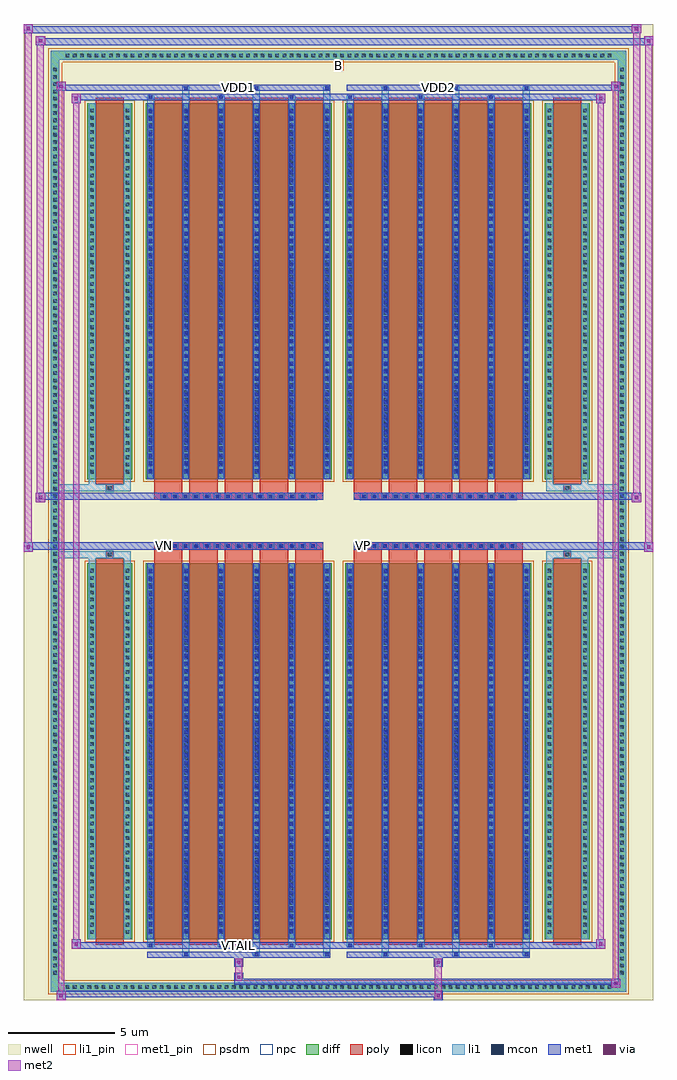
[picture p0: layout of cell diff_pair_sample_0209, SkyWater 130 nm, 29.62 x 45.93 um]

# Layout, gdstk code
import gdstk
lib = gdstk.Library(unit=1e-6, precision=5e-09)
def R(c, l, rs):  # rectangles x0, y0, x1, y1
    for r in rs: c.add(gdstk.rectangle(r[:2], r[2:], *l))
def A(c, l, x, y, w, h, nx, ny, dx, dy):  # array of equal rectangles
    R(c, l, [(x+i*dx, y+j*dy, x+i*dx+w, y+j*dy+h) for i in range(nx) for j in range(ny)])
def P(c, l, *ps):  # polygons
    for p in ps: c.add(gdstk.Polygon(p, *l))
nwell = (64, 20)
diff = (65, 20)
poly = (66, 20)
licon = (66, 44)
li1_pin = (67, 16)
li1 = (67, 20)
mcon = (67, 44)
met1_pin = (68, 16)
met1 = (68, 20)
via = (68, 44)
met2 = (69, 20)
psdm = (94, 20)
npc = (95, 20)

diff_pair_sample_0209 = lib.new_cell('diff_pair_sample_0209')
R(diff_pair_sample_0209, nwell, [(-14.81,-22.53,14.81,23.4), (-12.13,-20.72,-0.01,-0.8), (0.01,-20.72,12.13,-0.8), (-12.13,0.8,-0.01,20.72), (0.01,0.8,12.13,20.72)])
A(diff_pair_sample_0209, diff, -12.955, -22.13, 0.41, 0.41, 76, 2, 0.34, 43.85)
A(diff_pair_sample_0209, diff, -13.54, -21.455, 0.41, 0.41, 1, 126, 0, 0.34)
A(diff_pair_sample_0209, diff, 13.13, -21.455, 0.41, 0.41, 1, 126, 0, 0.34)
R(diff_pair_sample_0209, diff, [(-12.955,-22.13,12.955,-21.72), (-13.54,-21.455,-13.13,21.455), (13.13,-21.455,13.54,21.455), (-11.82,-19.675,-9.71,-1.985), (-9.07,-19.675,-0.32,-1.985), (0.32,-19.675,9.07,-1.985), (9.71,-19.675,11.82,-1.985), (-11.82,1.985,-9.71,19.675), (-9.07,1.985,-0.32,19.675), (0.32,1.985,9.07,19.675), (9.71,1.985,11.82,19.675), (-12.955,21.72,12.955,22.13)])
P(diff_pair_sample_0209, diff, [(13.54,22.13),(-13.54,22.13),(-13.54,-21.72),(-13.13,-21.72),(-13.13,21.72),(13.13,21.72),(13.13,-21.72),(-13.13,-21.72),(-13.54,-21.72),(-13.54,-22.13),(13.54,-22.13)])
A(diff_pair_sample_0209, poly, -8.68, -19.925, 1.33, 18.19, 5, 2, 1.66, 21.66)
A(diff_pair_sample_0209, poly, 0.71, -19.925, 1.33, 18.19, 5, 2, 1.66, 21.66)
A(diff_pair_sample_0209, poly, -8.68, -1.735, 1.33, 0.405, 5, 2, 1.66, 3.065)
A(diff_pair_sample_0209, poly, 0.71, -1.735, 1.33, 0.405, 5, 2, 1.66, 3.065)
A(diff_pair_sample_0209, poly, -8.36, -1.33, 0.33, 0.33, 15, 2, 0.5, 2.33)
A(diff_pair_sample_0209, poly, 1.03, -1.33, 0.33, 0.33, 15, 2, 0.5, 2.33)
R(diff_pair_sample_0209, poly, [(-11.43,-19.925,-10.1,-1.735), (10.1,-19.925,11.43,-1.735), (-10.93,-1.735,-10.6,-1.405), (-10.93,-1.735,-10.6,-1.405), (10.6,-1.735,10.93,-1.405), (10.6,-1.735,10.93,-1.405), (-8.68,-1.33,-0.71,-1), (0.71,-1.33,8.68,-1), (-8.68,1,-0.71,1.33), (0.71,1,8.68,1.33), (-10.93,1.405,-10.6,1.735), (-10.93,1.405,-10.6,1.735), (10.6,1.405,10.93,1.735), (10.6,1.405,10.93,1.735), (-11.43,1.735,-10.1,19.925), (10.1,1.735,11.43,19.925)])
A(diff_pair_sample_0209, licon, -12.835, -22.01, 0.17, 0.17, 76, 2, 0.34, 43.85)
A(diff_pair_sample_0209, licon, -13.42, -21.335, 0.17, 0.17, 1, 126, 0, 0.34)
A(diff_pair_sample_0209, licon, 13.25, -21.335, 0.17, 0.17, 1, 126, 0, 0.34)
A(diff_pair_sample_0209, licon, -11.68, -19.415, 0.17, 0.17, 1, 51, 0, 0.34)
A(diff_pair_sample_0209, licon, -10.02, -19.415, 0.17, 0.17, 1, 51, 0, 0.34)
A(diff_pair_sample_0209, licon, -8.93, -19.415, 0.17, 0.17, 6, 51, 1.66, 0.34)
A(diff_pair_sample_0209, licon, 0.46, -19.415, 0.17, 0.17, 6, 51, 1.66, 0.34)
A(diff_pair_sample_0209, licon, 9.85, -19.415, 0.17, 0.17, 1, 51, 0, 0.34)
A(diff_pair_sample_0209, licon, 11.51, -19.415, 0.17, 0.17, 1, 51, 0, 0.34)
A(diff_pair_sample_0209, licon, -8.28, -1.25, 0.17, 0.17, 15, 2, 0.5, 2.33)
A(diff_pair_sample_0209, licon, 1.11, -1.25, 0.17, 0.17, 15, 2, 0.5, 2.33)
A(diff_pair_sample_0209, licon, -11.68, 2.245, 0.17, 0.17, 1, 51, 0, 0.34)
A(diff_pair_sample_0209, licon, -10.02, 2.245, 0.17, 0.17, 1, 51, 0, 0.34)
A(diff_pair_sample_0209, licon, -8.93, 2.245, 0.17, 0.17, 6, 51, 1.66, 0.34)
A(diff_pair_sample_0209, licon, 0.46, 2.245, 0.17, 0.17, 6, 51, 1.66, 0.34)
A(diff_pair_sample_0209, licon, 9.85, 2.245, 0.17, 0.17, 1, 51, 0, 0.34)
A(diff_pair_sample_0209, licon, 11.51, 2.245, 0.17, 0.17, 1, 51, 0, 0.34)
R(diff_pair_sample_0209, licon, [(-10.85,-1.655,-10.68,-1.485), (10.68,-1.655,10.85,-1.485), (-10.85,1.485,-10.68,1.655), (10.68,1.485,10.85,1.655)])
R(diff_pair_sample_0209, li1_pin, [(-0.25,21.22,0.25,21.72)])
A(diff_pair_sample_0209, li1, -12.915, -22.09, 0.33, 0.33, 76, 2, 0.34, 43.85)
A(diff_pair_sample_0209, li1, -13.5, -21.415, 0.33, 0.33, 1, 126, 0, 0.34)
A(diff_pair_sample_0209, li1, 13.17, -21.415, 0.33, 0.33, 1, 126, 0, 0.34)
A(diff_pair_sample_0209, li1, -7.35, -20.48, 0.33, 0.805, 3, 2, 3.32, 40.155)
A(diff_pair_sample_0209, li1, -7.27, -20.48, 0.17, 0.17, 3, 2, 3.32, 40.79)
A(diff_pair_sample_0209, li1, 2.04, -20.48, 0.33, 0.805, 3, 2, 3.32, 40.155)
A(diff_pair_sample_0209, li1, 2.12, -20.48, 0.17, 0.17, 3, 2, 3.32, 40.79)
A(diff_pair_sample_0209, li1, -9.01, -20.05, 0.33, 0.375, 3, 2, 3.32, 39.725)
A(diff_pair_sample_0209, li1, -8.93, -20.05, 0.17, 0.17, 3, 2, 3.32, 39.93)
A(diff_pair_sample_0209, li1, 0.38, -20.05, 0.33, 0.375, 3, 2, 3.32, 39.725)
A(diff_pair_sample_0209, li1, 0.46, -20.05, 0.17, 0.17, 3, 2, 3.32, 39.93)
A(diff_pair_sample_0209, li1, -9.01, -19.675, 0.33, 17.69, 6, 2, 1.66, 21.66)
A(diff_pair_sample_0209, li1, 0.38, -19.675, 0.33, 17.69, 6, 2, 1.66, 21.66)
A(diff_pair_sample_0209, li1, -11.76, -19.495, 0.33, 0.33, 1, 51, 0, 0.34)
A(diff_pair_sample_0209, li1, -10.1, -19.495, 0.33, 0.33, 1, 51, 0, 0.34)
A(diff_pair_sample_0209, li1, -9.01, -19.495, 0.33, 0.33, 6, 51, 1.66, 0.34)
A(diff_pair_sample_0209, li1, 0.38, -19.495, 0.33, 0.33, 6, 51, 1.66, 0.34)
A(diff_pair_sample_0209, li1, 9.77, -19.495, 0.33, 0.33, 1, 51, 0, 0.34)
A(diff_pair_sample_0209, li1, 11.43, -19.495, 0.33, 0.33, 1, 51, 0, 0.34)
A(diff_pair_sample_0209, li1, -8.93, -19.375, 0.17, 0.17, 6, 48, 1.66, 0.36)
A(diff_pair_sample_0209, li1, -8.93, -19.375, 0.17, 17.09, 6, 2, 1.66, 21.66)
A(diff_pair_sample_0209, li1, 0.46, -19.375, 0.17, 0.17, 6, 48, 1.66, 0.36)
A(diff_pair_sample_0209, li1, 0.46, -19.375, 0.17, 17.09, 6, 2, 1.66, 21.66)
A(diff_pair_sample_0209, li1, -8.36, -1.33, 0.33, 0.33, 15, 2, 0.5, 2.33)
A(diff_pair_sample_0209, li1, 1.03, -1.33, 0.33, 0.33, 15, 2, 0.5, 2.33)
A(diff_pair_sample_0209, li1, -11.76, 2.165, 0.33, 0.33, 1, 51, 0, 0.34)
A(diff_pair_sample_0209, li1, -10.1, 2.165, 0.33, 0.33, 1, 51, 0, 0.34)
A(diff_pair_sample_0209, li1, -9.01, 2.165, 0.33, 0.33, 6, 51, 1.66, 0.34)
A(diff_pair_sample_0209, li1, 0.38, 2.165, 0.33, 0.33, 6, 51, 1.66, 0.34)
A(diff_pair_sample_0209, li1, 9.77, 2.165, 0.33, 0.33, 1, 51, 0, 0.34)
A(diff_pair_sample_0209, li1, 11.43, 2.165, 0.33, 0.33, 1, 51, 0, 0.34)
A(diff_pair_sample_0209, li1, -8.93, 2.285, 0.17, 0.17, 6, 48, 1.66, 0.36)
A(diff_pair_sample_0209, li1, 0.46, 2.285, 0.17, 0.17, 6, 48, 1.66, 0.36)
R(diff_pair_sample_0209, li1, [(-13.54,-22.13,-13.13,-21.72), (-13.54,-22.13,-13.13,-21.72), (-13.13,-22.13,13.13,-21.72), (13.13,-22.13,13.54,-21.72), (13.13,-22.13,13.54,-21.72), (-13.54,-21.72,-13.13,21.72), (13.13,-21.72,13.54,21.72), (-11.76,-19.675,-11.43,-1.985), (-10.1,-19.675,-9.77,-1.985), (9.77,-19.675,10.1,-1.985), (11.43,-19.675,11.76,-1.985), (-11.76,-1.985,-11.43,-1.405), (-10.1,-1.985,-9.77,-1.405), (9.77,-1.985,10.1,-1.405), (11.43,-1.985,11.76,-1.405), (-13.54,-1.735,-10.93,-1.405), (-11.76,-1.735,-10.93,-1.405), (-10.93,-1.735,-10.6,-1.405), (-10.6,-1.735,-9.77,-1.405), (9.77,-1.735,10.6,-1.405), (10.6,-1.735,10.93,-1.405), (10.6,-1.735,13.54,-1.405), (10.93,-1.735,11.76,-1.405), (-13.54,1.405,-10.93,1.735), (-11.76,1.405,-10.93,1.735), (-11.76,1.405,-11.43,1.985), (-10.93,1.405,-10.6,1.735), (-10.6,1.405,-9.77,1.735), (-10.1,1.405,-9.77,1.985), (9.77,1.405,10.6,1.735), (9.77,1.405,10.1,1.985), (10.6,1.405,10.93,1.735), (10.6,1.405,13.54,1.735), (10.93,1.405,11.76,1.735), (11.43,1.405,11.76,1.985), (-11.76,1.985,-11.43,19.675), (-10.1,1.985,-9.77,19.675), (9.77,1.985,10.1,19.675), (11.43,1.985,11.76,19.675), (-13.54,21.72,-13.13,22.13), (-13.54,21.72,-13.13,22.13), (-13.13,21.72,13.13,22.13), (13.13,21.72,13.54,22.13), (13.13,21.72,13.54,22.13)])
A(diff_pair_sample_0209, mcon, -7.27, -20.48, 0.17, 0.17, 3, 2, 3.32, 40.79)
A(diff_pair_sample_0209, mcon, 2.12, -20.48, 0.17, 0.17, 3, 2, 3.32, 40.79)
A(diff_pair_sample_0209, mcon, -8.93, -20.05, 0.17, 0.17, 3, 2, 3.32, 39.93)
A(diff_pair_sample_0209, mcon, 0.46, -20.05, 0.17, 0.17, 3, 2, 3.32, 39.93)
A(diff_pair_sample_0209, mcon, -8.93, -19.375, 0.17, 0.17, 6, 48, 1.66, 0.36)
A(diff_pair_sample_0209, mcon, 0.46, -19.375, 0.17, 0.17, 6, 48, 1.66, 0.36)
A(diff_pair_sample_0209, mcon, -8.28, -1.25, 0.17, 0.17, 15, 2, 0.5, 2.33)
A(diff_pair_sample_0209, mcon, 1.11, -1.25, 0.17, 0.17, 15, 2, 0.5, 2.33)
A(diff_pair_sample_0209, mcon, -8.93, 2.285, 0.17, 0.17, 6, 48, 1.66, 0.36)
A(diff_pair_sample_0209, mcon, 0.46, 2.285, 0.17, 0.17, 6, 48, 1.66, 0.36)
R(diff_pair_sample_0209, met1_pin, [(-4.83,-20.09,-4.56,-19.82), (-8.33,-1.29,-8.06,-1.02), (1.06,-1.29,1.33,-1.02), (-4.83,20.27,-4.56,20.54), (4.56,20.27,4.83,20.54)])
A(diff_pair_sample_0209, met1, -7.33, -20.54, 0.29, 0.29, 3, 2, 3.32, 40.79)
A(diff_pair_sample_0209, met1, 2.06, -20.54, 0.29, 0.29, 3, 2, 3.32, 40.79)
A(diff_pair_sample_0209, met1, -8.99, -20.11, 0.29, 0.29, 3, 2, 3.32, 39.93)
A(diff_pair_sample_0209, met1, 0.4, -20.11, 0.29, 0.29, 3, 2, 3.32, 39.93)
A(diff_pair_sample_0209, met1, -8.99, -19.675, 0.29, 17.69, 6, 2, 1.66, 21.66)
A(diff_pair_sample_0209, met1, 0.4, -19.675, 0.29, 17.69, 6, 2, 1.66, 21.66)
A(diff_pair_sample_0209, met1, -8.99, -19.435, 0.29, 0.29, 6, 48, 1.66, 0.36)
A(diff_pair_sample_0209, met1, 0.4, -19.435, 0.29, 0.29, 6, 48, 1.66, 0.36)
A(diff_pair_sample_0209, met1, -8.34, -1.31, 0.29, 0.29, 15, 2, 0.5, 2.33)
A(diff_pair_sample_0209, met1, 1.05, -1.31, 0.29, 0.29, 15, 2, 0.5, 2.33)
A(diff_pair_sample_0209, met1, -8.99, 2.225, 0.29, 0.29, 6, 48, 1.66, 0.36)
A(diff_pair_sample_0209, met1, 0.4, 2.225, 0.29, 0.29, 6, 48, 1.66, 0.36)
R(diff_pair_sample_0209, met1, [(-13.27,-22.53,-12.84,-22.1), (4.48,-22.53,4.91,-22.1), (-13.27,-22.39,4.91,-22.1), (12.84,-21.96,13.27,-21.53), (-4.91,-21.82,13.27,-21.53), (-4.91,-21.68,-4.48,-21.25), (-4.91,-20.97,-4.48,-20.54), (4.48,-20.97,4.91,-20.54), (-8.99,-20.54,-0.4,-20.25), (0.4,-20.54,8.99,-20.25), (-12.56,-20.11,-12.13,-19.68), (-12.56,-20.11,-8.99,-19.82), (-8.99,-20.11,-0.4,-19.82), (-0.4,-20.11,0.4,-19.82), (0.4,-20.11,8.99,-19.82), (8.99,-20.11,12.56,-19.82), (12.13,-20.11,12.56,-19.68), (-14.81,-1.43,-14.38,-1), (14.38,-1.43,14.81,-1), (-14.81,-1.33,-0.71,-1), (-8.68,-1.33,-0.71,-1), (0.71,-1.33,8.68,-1), (0.71,-1.33,14.81,-1), (-14.24,0.9,-13.81,1.33), (13.81,0.9,14.24,1.33), (-14.24,1,-8.68,1.33), (-8.68,1,-0.71,1.33), (0.71,1,8.68,1.33), (8.68,1,14.24,1.33), (-12.56,19.68,-12.13,20.11), (12.13,19.68,12.56,20.11), (-12.56,19.82,-8.99,20.11), (-8.99,19.82,-0.4,20.11), (-0.4,19.82,0.4,20.11), (0.4,19.82,8.99,20.11), (8.99,19.82,12.56,20.11), (-13.27,20.25,-12.84,20.68), (-13.27,20.25,-8.99,20.54), (-8.99,20.25,-0.4,20.54), (0.4,20.25,8.99,20.54), (8.99,20.25,13.27,20.54), (12.84,20.25,13.27,20.68), (-14.24,22.4,-13.81,22.83), (-14.24,22.4,-12.13,22.73), (-12.13,22.4,12.13,22.73), (12.13,22.4,14.81,22.73), (14.38,22.4,14.81,22.83), (-14.81,22.97,-14.38,23.4), (-14.81,22.97,-12.13,23.3), (-12.13,22.97,12.13,23.3), (12.13,22.97,14.24,23.3), (13.81,22.97,14.24,23.4)])
R(diff_pair_sample_0209, via, [(-13.13,-22.39,-12.98,-22.24), (4.62,-22.39,4.77,-22.24), (12.98,-21.82,13.13,-21.67), (-4.77,-21.54,-4.62,-21.39), (-4.77,-20.83,-4.62,-20.68), (4.62,-20.83,4.77,-20.68), (-12.42,-19.97,-12.27,-19.82), (12.27,-19.97,12.42,-19.82), (-14.67,-1.29,-14.52,-1.14), (14.52,-1.29,14.67,-1.14), (-14.1,1.04,-13.95,1.19), (13.95,1.04,14.1,1.19), (-12.42,19.82,-12.27,19.97), (12.27,19.82,12.42,19.97), (-13.13,20.39,-12.98,20.54), (12.98,20.39,13.13,20.54), (-14.1,22.54,-13.95,22.69), (14.52,22.54,14.67,22.69), (-14.67,23.11,-14.52,23.26), (13.95,23.11,14.1,23.26)])
R(diff_pair_sample_0209, met2, [(-13.27,-22.53,-12.84,-22.1), (-13.2,-22.53,-12.91,20.68), (-12.91,-22.53,-12.84,-22.1), (-13.22,-22.48,-12.89,-22.15), (4.53,-22.48,4.86,-22.15), (4.53,-22.15,4.86,-20.92), (12.84,-21.96,13.27,-21.53), (12.91,-21.96,13.2,20.68), (13.2,-21.96,13.27,-21.53), (12.89,-21.91,13.22,-21.58), (-4.86,-21.63,-4.53,-21.3), (-4.86,-21.3,-4.53,-20.92), (-4.86,-20.92,-4.53,-20.59), (4.53,-20.92,4.86,-20.59), (-12.56,-20.11,-12.13,-19.68), (-12.49,-20.11,-12.2,20.11), (-12.2,-20.11,-12.13,-19.68), (12.13,-20.11,12.56,-19.68), (12.2,-20.11,12.49,20.11), (12.49,-20.11,12.56,-19.68), (-12.51,-20.06,-12.18,-19.73), (12.18,-20.06,12.51,-19.73), (-14.81,-1.43,-14.38,-1), (-14.76,-1.43,-14.43,23.4), (-14.43,-1.43,-14.38,-1), (14.38,-1.43,14.81,-1), (14.43,-1.43,14.76,22.83), (14.76,-1.43,14.81,-1), (-14.76,-1.38,-14.43,-1.05), (14.43,-1.38,14.76,-1.05), (-14.24,0.9,-13.81,1.33), (-14.19,0.9,-13.86,22.83), (-13.86,0.9,-13.81,1.33), (13.81,0.9,14.24,1.33), (13.86,0.9,14.19,23.4), (14.19,0.9,14.24,1.33), (-14.19,0.95,-13.86,1.28), (13.86,0.95,14.19,1.28), (-12.56,19.68,-12.13,20.11), (-12.2,19.68,-12.13,20.11), (12.13,19.68,12.56,20.11), (12.49,19.68,12.56,20.11), (-12.51,19.73,-12.18,20.06), (12.18,19.73,12.51,20.06), (-13.27,20.25,-12.84,20.68), (-12.91,20.25,-12.84,20.68), (12.84,20.25,13.27,20.68), (13.2,20.25,13.27,20.68), (-13.22,20.3,-12.89,20.63), (12.89,20.3,13.22,20.63), (-14.24,22.4,-13.81,22.83), (-13.86,22.4,-13.81,22.83), (14.38,22.4,14.81,22.83), (14.76,22.4,14.81,22.83), (-14.19,22.45,-13.86,22.78), (14.43,22.45,14.76,22.78), (-14.81,22.97,-14.38,23.4), (-14.43,22.97,-14.38,23.4), (13.81,22.97,14.24,23.4), (14.19,22.97,14.24,23.4), (-14.76,23.02,-14.43,23.35), (13.86,23.02,14.19,23.35)])
R(diff_pair_sample_0209, psdm, [(-11.95,-19.805,-9.58,-1.855), (-9.2,-19.805,-0.19,-1.855), (0.19,-19.805,9.2,-1.855), (9.58,-19.805,11.95,-1.855), (-11.95,1.855,-9.58,19.805), (-9.2,1.855,-0.19,19.805), (0.19,1.855,9.2,19.805), (9.58,1.855,11.95,19.805)])
P(diff_pair_sample_0209, psdm, [(13.67,22.26),(-13.67,22.26),(-13.67,-21.59),(-13,-21.59),(-13,21.59),(13,21.59),(13,-21.59),(-13,-21.59),(-13.67,-21.59),(-13.67,-22.26),(13.67,-22.26)])
A(diff_pair_sample_0209, npc, -8.38, -1.35, 0.37, 0.37, 15, 2, 0.5, 2.33)
A(diff_pair_sample_0209, npc, 1.01, -1.35, 0.37, 0.37, 15, 2, 0.5, 2.33)
R(diff_pair_sample_0209, npc, [(-10.95,-1.755,-10.58,-1.385), (10.58,-1.755,10.95,-1.385), (-8.38,-1.35,-7.51,-0.98), (-8.38,-1.35,-7.51,-0.98), (-7.88,-1.35,-7.01,-0.98), (-7.88,-1.35,-7.01,-0.98), (-7.38,-1.35,-6.51,-0.98), (-7.38,-1.35,-6.51,-0.98), (-6.88,-1.35,-6.01,-0.98), (-6.88,-1.35,-6.01,-0.98), (-6.38,-1.35,-5.51,-0.98), (-6.38,-1.35,-5.51,-0.98), (-5.88,-1.35,-5.01,-0.98), (-5.88,-1.35,-5.01,-0.98), (-5.38,-1.35,-4.51,-0.98), (-5.38,-1.35,-4.51,-0.98), (-4.88,-1.35,-4.01,-0.98), (-4.88,-1.35,-4.01,-0.98), (-4.38,-1.35,-3.51,-0.98), (-4.38,-1.35,-3.51,-0.98), (-3.88,-1.35,-3.01,-0.98), (-3.88,-1.35,-3.01,-0.98), (-3.38,-1.35,-2.51,-0.98), (-3.38,-1.35,-2.51,-0.98), (-2.88,-1.35,-2.01,-0.98), (-2.88,-1.35,-2.01,-0.98), (-2.38,-1.35,-1.51,-0.98), (-2.38,-1.35,-1.51,-0.98), (-1.88,-1.35,-1.01,-0.98), (-1.88,-1.35,-1.01,-0.98), (1.01,-1.35,1.88,-0.98), (1.01,-1.35,1.88,-0.98), (1.51,-1.35,2.38,-0.98), (1.51,-1.35,2.38,-0.98), (2.01,-1.35,2.88,-0.98), (2.01,-1.35,2.88,-0.98), (2.51,-1.35,3.38,-0.98), (2.51,-1.35,3.38,-0.98), (3.01,-1.35,3.88,-0.98), (3.01,-1.35,3.88,-0.98), (3.51,-1.35,4.38,-0.98), (3.51,-1.35,4.38,-0.98), (4.01,-1.35,4.88,-0.98), (4.01,-1.35,4.88,-0.98), (4.51,-1.35,5.38,-0.98), (4.51,-1.35,5.38,-0.98), (5.01,-1.35,5.88,-0.98), (5.01,-1.35,5.88,-0.98), (5.51,-1.35,6.38,-0.98), (5.51,-1.35,6.38,-0.98), (6.01,-1.35,6.88,-0.98), (6.01,-1.35,6.88,-0.98), (6.51,-1.35,7.38,-0.98), (6.51,-1.35,7.38,-0.98), (7.01,-1.35,7.88,-0.98), (7.01,-1.35,7.88,-0.98), (7.51,-1.35,8.38,-0.98), (7.51,-1.35,8.38,-0.98), (-8.38,0.98,-7.51,1.35), (-8.38,0.98,-7.51,1.35), (-7.88,0.98,-7.01,1.35), (-7.88,0.98,-7.01,1.35), (-7.38,0.98,-6.51,1.35), (-7.38,0.98,-6.51,1.35), (-6.88,0.98,-6.01,1.35), (-6.88,0.98,-6.01,1.35), (-6.38,0.98,-5.51,1.35), (-6.38,0.98,-5.51,1.35), (-5.88,0.98,-5.01,1.35), (-5.88,0.98,-5.01,1.35), (-5.38,0.98,-4.51,1.35), (-5.38,0.98,-4.51,1.35), (-4.88,0.98,-4.01,1.35), (-4.88,0.98,-4.01,1.35), (-4.38,0.98,-3.51,1.35), (-4.38,0.98,-3.51,1.35), (-3.88,0.98,-3.01,1.35), (-3.88,0.98,-3.01,1.35), (-3.38,0.98,-2.51,1.35), (-3.38,0.98,-2.51,1.35), (-2.88,0.98,-2.01,1.35), (-2.88,0.98,-2.01,1.35), (-2.38,0.98,-1.51,1.35), (-2.38,0.98,-1.51,1.35), (-1.88,0.98,-1.01,1.35), (-1.88,0.98,-1.01,1.35), (1.01,0.98,1.88,1.35), (1.01,0.98,1.88,1.35), (1.51,0.98,2.38,1.35), (1.51,0.98,2.38,1.35), (2.01,0.98,2.88,1.35), (2.01,0.98,2.88,1.35), (2.51,0.98,3.38,1.35), (2.51,0.98,3.38,1.35), (3.01,0.98,3.88,1.35), (3.01,0.98,3.88,1.35), (3.51,0.98,4.38,1.35), (3.51,0.98,4.38,1.35), (4.01,0.98,4.88,1.35), (4.01,0.98,4.88,1.35), (4.51,0.98,5.38,1.35), (4.51,0.98,5.38,1.35), (5.01,0.98,5.88,1.35), (5.01,0.98,5.88,1.35), (5.51,0.98,6.38,1.35), (5.51,0.98,6.38,1.35), (6.01,0.98,6.88,1.35), (6.01,0.98,6.88,1.35), (6.51,0.98,7.38,1.35), (6.51,0.98,7.38,1.35), (7.01,0.98,7.88,1.35), (7.01,0.98,7.88,1.35), (7.51,0.98,8.38,1.35), (7.51,0.98,8.38,1.35), (-10.95,1.385,-10.58,1.755), (10.58,1.385,10.95,1.755)])
diff_pair_sample_0209.add(gdstk.Label('VTAIL', (-4.695,-19.955), layer=68, texttype=5))
diff_pair_sample_0209.add(gdstk.Label('VN', (-8.195,-1.155), layer=68, texttype=5))
diff_pair_sample_0209.add(gdstk.Label('VP', (1.195,-1.155), layer=68, texttype=5))
diff_pair_sample_0209.add(gdstk.Label('B', (0,21.47), layer=67, texttype=5))
diff_pair_sample_0209.add(gdstk.Label('VDD2', (4.695,20.405), layer=68, texttype=5))
diff_pair_sample_0209.add(gdstk.Label('VDD1', (-4.695,20.405), layer=68, texttype=5))

lib.write_gds('diff_pair_sample_0209.gds')
